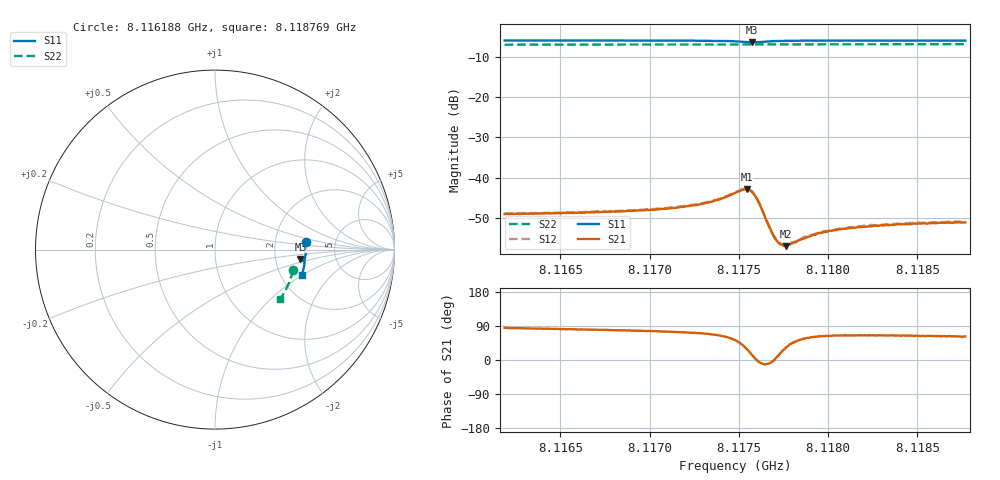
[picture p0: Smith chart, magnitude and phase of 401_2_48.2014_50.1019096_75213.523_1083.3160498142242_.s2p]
#  HZ  S  RI  R  50.00
! Rohde & Schwarz Vector Network Analyzer
! Rohde-Schwarz,ZNB20-2Port,1311601062101988,3.16
! Created: UTC 3/20/2024, 11:54:01 AM
! freq[Hz]  re:S11  im:S11  re:S21  im:S21  re:S12  im:S12  re:S22  im:S22
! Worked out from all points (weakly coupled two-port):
!   401 points, 8.116188 GHz to 8.118769 GHz, reference 50 ohm
!   highest |S21| = -42.88 dB at 8.117543 GHz (marker M1); lowest = -57.0 dB at 8.117762 GHz (marker M2)
!   lowest |S11| = -6.4 dB at 8.117575 GHz (marker M3), VSWR 2.84, Z = 139 - j19 ohm
!   |S11| at or under -10 dB: nowhere
!   |S22| runs from -7.0 to -6.8 dB; largest |S21 - S12| = 0.00019
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8.1161876e9  0.5051 0.0443  0.000312 0.0035  0.000385 0.00356  0.4345 -0.1138
8.1166199e9  0.5064 0.0117  0.000601 0.00359  0.000652 0.00366  0.4272 -0.1429
8.1170522e9  0.5052 -0.022  0.00101 0.00391  0.00104 0.00399  0.4176 -0.1717
8.1172845e9  0.5022 -0.0417  0.00158 0.0044  0.00165 0.00451  0.4118 -0.1868
8.1174006e9  0.4983 -0.0531  0.00238 0.00491  0.00249 0.00498  0.4085 -0.1944
8.1174781e9  0.4912 -0.0609  0.00391 0.00515  0.00406 0.00519  0.4059 -0.1992
8.1175168e9  0.4842 -0.0623  0.00527 0.00461  0.00543 0.00467  0.4046 -0.2016
8.1175426e9  0.479 -0.0599  0.00623 0.00356  0.00636 0.00358  0.4037 -0.2031
8.1175748e9  0.4763 -0.0527  0.00642 0.00139  0.00656 0.00135  0.4027 -0.2046
8.1175878e9  0.4775 -0.0496  0.00603 0.000577  0.00619 0.000508  0.4023 -0.2054
8.1176071e9  0.4808 -0.0464  0.00507 -0.000315  0.0052 -0.000358  0.4022 -0.2063
8.1176716e9  0.4928 -0.0489  0.00237 -0.000345  0.00242 -0.000383  0.4006 -0.2105
8.1177039e9  0.4958 -0.0528  0.00172 9.26e-05  0.00179 4.53e-05  0.3999 -0.2126
8.1177297e9  0.4971 -0.0561  0.00143 0.000431  0.00148 0.000416  0.3991 -0.2142
8.117762e9  0.4982 -0.0599  0.00119 0.000754  0.00126 0.000755  0.3981 -0.2164
8.1177749e9  0.4984 -0.0612  0.00118 0.000865  0.00118 0.000863  0.3978 -0.2173
8.1179104e9  0.4986 -0.0746  0.000952 0.00168  0.000984 0.0017  0.3937 -0.226
8.1179491e9  0.4982 -0.078  0.000935 0.00183  0.000967 0.00181  0.3924 -0.2283
8.1180717e9  0.4968 -0.0881  0.000968 0.00206  0.000998 0.0021  0.3883 -0.2359
8.1182007e9  0.4951 -0.0983  0.00102 0.00223  0.00107 0.0023  0.3838 -0.244
8.1183427e9  0.4928 -0.1092  0.00111 0.00234  0.00115 0.00235  0.3787 -0.2524
8.1187685e9  0.4846 -0.1405  0.0013 0.00245  0.00136 0.0025  0.3623 -0.2775
